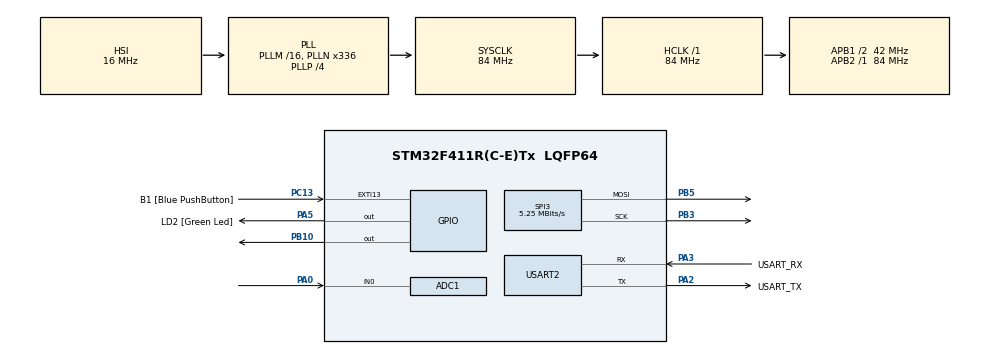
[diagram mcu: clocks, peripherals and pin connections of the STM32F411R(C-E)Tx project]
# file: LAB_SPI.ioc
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Mcu.Family=STM32F4
PB10.PinState=GPIO_PIN_SET
VP_TIM5_VS_ClockSourceINT.Mode=Internal
RCC.CortexFreq_Value=84000000
SPI3.Direction=SPI_DIRECTION_2LINES
SPI3.VirtualType=VM_MASTER
ADC1.ContinuousConvMode=DISABLE
PA14.GPIO_Label=TCK
RCC.SYSCLKSource=RCC_SYSCLKSOURCE_PLLCLK
Dma.USART2_RX.1.MemDataAlignment=DMA_MDATAALIGN_BYTE
ProjectManager.StackSize=0x400
PH0\ -\ OSC_IN.Signal=RCC_OSC_IN
RCC.HCLKFreq_Value=84000000
RCC.APB2TimFreq_Value=84000000
TIM3.Period=100
Dma.ADC1.0.Direction=DMA_PERIPH_TO_MEMORY
Dma.USART2_RX.1.PeriphInc=DMA_PINC_DISABLE
NVIC.DMA2_Stream0_IRQn=true\:0\:0\:false\:false\:true\:false\:true
Dma.USART2_RX.1.MemInc=DMA_MINC_ENABLE
Dma.ADC1.0.MemDataAlignment=DMA_MDATAALIGN_HALFWORD
RCC.AHBFreq_Value=84000000
SPI3.DataSize=SPI_DATASIZE_16BIT
ADC1.Channel-0\#ChannelRegularConversion=ADC_CHANNEL_0
RCC.HSE_VALUE=8000000
PB3.Mode=TX_Only_Simplex_Unidirect_Master
ADC1.ScanConvMode=ENABLE
PC13-ANTI_TAMP.Signal=GPXTI13
PC14-OSC32_IN.Mode=LSE-External-Oscillator
PA14.Mode=Serial_Wire
TIM3.Prescaler=99
Dma.ADC1.0.PeriphInc=DMA_PINC_DISABLE
PB5.Mode=TX_Only_Simplex_Unidirect_Master
SH.ADCx_IN0.0=ADC1_IN0,IN0
ADC1.SamplingTime-0\#ChannelRegularConversion=ADC_SAMPLETIME_3CYCLES
RCC.FLatency-AdvancedSettings=FLASH_LATENCY_2
Mcu.Package=LQFP64
SPI3.Mode=SPI_MODE_MASTER
USART2.VirtualMode=VM_ASYNC
PA2.GPIO_Label=USART_TX
NVIC.SPI3_IRQn=true\:0\:0\:false\:false\:true\:true\:true
Dma.Request1=USART2_RX
RCC.APB1TimFreq_Value=84000000
Dma.ADC1.0.FIFOMode=DMA_FIFOMODE_DISABLE
SPI3.CRCCalculation=SPI_CRCCALCULATION_DISABLE
Dma.USART2_RX.1.Mode=DMA_CIRCULAR
Dma.Request0=ADC1
ADC1.EOCSelection=ADC_EOC_SEQ_CONV
VP_TIM3_VS_ClockSourceINT.Mode=Internal
PA3.Signal=USART2_RX
PC15-OSC32_OUT.Mode=LSE-External-Oscillator
Dma.USART2_RX.1.Priority=DMA_PRIORITY_LOW
Dma.ADC1.0.Instance=DMA2_Stream0
Dma.USART2_RX.1.FIFOMode=DMA_FIFOMODE_DISABLE
ADC1.Rank-0\#ChannelRegularConversion=1
TIM3.AutoReloadPreload=TIM_AUTORELOAD_PRELOAD_ENABLE
PC13-ANTI_TAMP.GPIO_Label=B1 [Blue PushButton]
PH1\ -\ OSC_OUT.Mode=HSE-External-Clock-Source
RCC.APB1CLKDivider=RCC_HCLK_DIV2
PC14-OSC32_IN.Signal=RCC_OSC32_IN
TIM5.AutoReloadPreload=TIM_AUTORELOAD_PRELOAD_ENABLE
PA0-WKUP.Signal=ADCx_IN0
PA13.Signal=SYS_JTMS-SWDIO
PA3.Mode=Asynchronous
Dma.ADC1.0.PeriphDataAlignment=DMA_PDATAALIGN_HALFWORD
PH0\ -\ OSC_IN.Mode=HSE-External-Clock-Source
ProjectManager.TargetToolchain=STM32CubeIDE
NVIC.DMA1_Stream5_IRQn=true\:0\:0\:false\:false\:true\:false\:true
Dma.ADC1.0.Mode=DMA_CIRCULAR
Dma.ADC1.0.Priority=DMA_PRIORITY_LOW
PC15-OSC32_OUT.Signal=RCC_OSC32_OUT
Dma.USART2_RX.1.Instance=DMA1_Stream5
PB10.Signal=GPIO_Output
Dma.USART2_RX.1.Direction=DMA_PERIPH_TO_MEMORY
PA5.Signal=GPIO_Output
Dma.USART2_RX.1.PeriphDataAlignment=DMA_PDATAALIGN_BYTE
PH1\ -\ OSC_OUT.Signal=RCC_OSC_OUT
board=NUCLEO-F411RE
RCC.VCOOutputFreq_Value=336000000
RCC.APB2Freq_Value=84000000
SPI3.CalculateBaudRate=5.25 MBits/s
SPI3.BaudRatePrescaler=SPI_BAUDRATEPRESCALER_8
ADC1.DMAContinuousRequests=ENABLE
PA13.Mode=Serial_Wire
Mcu.Name=STM32F411R(C-E)Tx
PA2.Signal=USART2_TX
PA13.GPIO_Label=TMS
ADC1.ExternalTrigConv=ADC_EXTERNALTRIGCONV_T3_TRGO
RCC.48MHZClocksFreq_Value=84000000
PB3.Signal=SPI3_SCK
RCC.SYSCLKFreq_VALUE=84000000
PB5.Signal=SPI3_MOSI
ADC1.master=1
PA5.GPIO_Label=LD2 [Green Led]
TIM5.Prescaler=99
PC13-ANTI_TAMP.GPIO_ModeDefaultEXTI=GPIO_MODE_IT_FALLING
PA14.Signal=SYS_JTCK-SWCLK
Dma.ADC1.0.MemInc=DMA_MINC_ENABLE
ProjectManager.HeapSize=0x200
RCC.HSI_VALUE=16000000
RCC.PLLP=RCC_PLLP_DIV4
NVIC.PriorityGroup=NVIC_PRIORITYGROUP_0
ADC1.NbrOfConversionFlag=1
RCC.PLLN=336
PA2.Mode=Asynchronous
TIM3.TIM_MasterOutputTrigger=TIM_TRGO_UPDATE
RCC.APB1Freq_Value=42000000
PA3.GPIO_Label=USART_RX

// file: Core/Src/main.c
/* USER CODE BEGIN Header */
/**
  ******************************************************************************
  * @file           : main.c
  * @brief          : Main program body
  ******************************************************************************
  * @attention
  *
  * <h2><center>&copy; Copyright (c) 2021 STMicroelectronics.
  * All rights reserved.</center></h2>
  *
  * This software component is licensed by ST under BSD 3-Clause license,
  * the "License"; You may not use this file except in compliance with the
  * License. You may obtain a copy of the License at:
  *                        opensource.org/licenses/BSD-3-Clause
  *
  ******************************************************************************
  */
/* USER CODE END Header */
#include "main.h"

/* USER CODE BEGIN Includes */
#include <stdio.h>
#include <string.h>
#include <math.h>
/* USER CODE END Includes */

ADC_HandleTypeDef hadc1;
DMA_HandleTypeDef hdma_adc1;

SPI_HandleTypeDef hspi3;

TIM_HandleTypeDef htim3;
TIM_HandleTypeDef htim5;

UART_HandleTypeDef huart2;
DMA_HandleTypeDef hdma_usart2_rx;

/* USER CODE BEGIN PV */
uint32_t readadc=0;
uint64_t micros();
uint32_t _micro=0;
uint32_t dataOut=0;
void MCP4922SetOutput(uint8_t Config, uint16_t DACOutput);
uint32_t OutputPacket;
uint64_t timestamp=0;
char TxDataBuffer[64] ={ 0 };
char RxDataBuffer[64] ={ 0 };
void pim();
uint8_t Posdatapre=0;
uint8_t Posdata=0;
uint8_t state=0;
void pimstatus();
uint8_t Freq=0;
uint8_t Vhigh=0;
uint8_t Vlow=0;
uint8_t Dutycycle=0;
uint8_t stateform=0;
uint8_t slope=0;
uint8_t statetypewave=0;
float adcconvert(uint8_t x);
uint8_t sq=0;

float Ton=0;
float Toff=0;
float T=0;
uint32_t stampsq=0;

float i=0;
float debug=0;
uint8_t usesin=0;

uint8_t st=0;
uint64_t k=0;

/* USER CODE END PV */

void SystemClock_Config(void);
static void MX_GPIO_Init(void);
static void MX_DMA_Init(void);
static void MX_USART2_UART_Init(void);
static void MX_ADC1_Init(void);
static void MX_SPI3_Init(void);
static void MX_TIM3_Init(void);
static void MX_TIM5_Init(void);

int main(void)
{

  /* MCU Configuration--------------------------------------------------------*/

  /* Reset of all peripherals, Initializes the Flash interface and the Systick. */
  HAL_Init();

  /* Configure the system clock */
  SystemClock_Config();

  /* Initialize all configured peripherals */
  MX_GPIO_Init();
  MX_DMA_Init();
  MX_USART2_UART_Init();
  MX_ADC1_Init();
  MX_SPI3_Init();
  MX_TIM3_Init();
  MX_TIM5_Init();
  /* USER CODE BEGIN 2 */
  HAL_TIM_Base_Start(&htim3);
  HAL_ADC_Start_DMA(&hadc1,(uint32_t*)&readadc , 1);
  uint8_t DACConfig = 0b0011;
  HAL_TIM_Base_Start_IT(&htim5);
  HAL_UART_Receive_DMA(&huart2,  (uint8_t*)RxDataBuffer, 32);
  enum{
	  printmenumain=0,waitwaveform,printsubmenusawtooth,printsubmenusin,printsubmenusquare,waitsubmenusquare,waitsubmenusin,waitsubmenusawtooth
  };
  /* USER CODE END 2 */

  /* Infinite loop */
  /* USER CODE BEGIN WHILE */
  while (1)
  {

	  	Posdata=huart2.RxXferSize - huart2.hdmarx->Instance->NDTR;
	  	if(Posdatapre!=Posdata){
	  			sprintf(TxDataBuffer, "\r\nReceivedChar:[%c]", RxDataBuffer[Posdatapre] );
	  			HAL_UART_Transmit(&huart2, (uint8_t*)TxDataBuffer, strlen(TxDataBuffer),500);
	  	}
//
//	  		if (micros() - timestamp >= 100){
//	  			timestamp = micros();
//	  			if (hspi3.State == HAL_SPI_STATE_READY && 	HAL_GPIO_ReadPin(GPIOB, GPIO_PIN_10)== GPIO_PIN_SET){
//	  				MCP4922SetOutput(DACConfig, floor(dataOut));
//	  			}
//	  		}
	  	switch(statetypewave){
			case 0:
			break;
			case 3:
				T=(float)1/(float)(Freq*0.1);
				Ton=(float)((float)Dutycycle*(1.00/(float)(Freq*0.1)))/100.00;
				Toff=T-Ton;
				switch(sq){
					case 0:
						if(micros() - stampsq >= Toff*1000000){
							dataOut=adcconvert(Vhigh);
							MCP4922SetOutput(DACConfig, dataOut);
							stampsq=micros();
							sq=1;
						}
					break;
					case 1:
						if(micros() - stampsq >= Ton*1000000){
							dataOut=adcconvert(Vlow);
							MCP4922SetOutput(DACConfig,dataOut);
							stampsq=micros();
							sq=0;
						}
					break;
				}

			break;
			case 2:
				T=(float)1/(float)(Freq*0.1);
				if (micros() - timestamp >= (T/10000)*1000000){
					timestamp = micros();
					if (hspi3.State == HAL_SPI_STATE_READY && 	HAL_GPIO_ReadPin(GPIOB, GPIO_PIN_10)== GPIO_PIN_SET){
						i=i+(T/10000);

						debug=(  (((float)Vhigh*0.1)/2.0)   *sin((float)2.00*3.141592653569793236*(float)(Freq*0.1)*i)  )+ (((float)Vhigh*0.1)/2.0) + ((float)Vlow*0.1);
						debug=debug*10;
						dataOut=adcconvert(debug);
						MCP4922SetOutput(DACConfig, dataOut);
					}
				}
			break;
			case 1:
				T=(float)1/(float)(Freq*0.1);
				if(slope==0){
					if (micros() - timestamp >= (T/1000)*1000000){
						timestamp = micros();
						k=k+1;
						debug=((float)k/1000.00)*(float)Vhigh;
						dataOut=adcconvert(debug);
						if (hspi3.State == HAL_SPI_STATE_READY && 	HAL_GPIO_ReadPin(GPIOB, GPIO_PIN_10)== GPIO_PIN_SET){
							MCP4922SetOutput(DACConfig, dataOut);

						}if(k>=1000){
							k=(1000*Vlow)/Vhigh;
							dataOut=adcconvert(Vlow);
							MCP4922SetOutput(DACConfig, dataOut);
						}
					}

				}else if(slope==1){
					if (micros() - timestamp >= (T/1000)*1000000){
						timestamp = micros();
						debug=debug-((float)(Vhigh-Vlow)/1000);
						dataOut=adcconvert(debug);
						if (hspi3.State == HAL_SPI_STATE_READY && 	HAL_GPIO_ReadPin(GPIOB, GPIO_PIN_10)== GPIO_PIN_SET){
							MCP4922SetOutput(DACConfig, dataOut);
						}if(debug<=Vlow){
							debug=Vhigh;
							MCP4922SetOutput(DACConfig, Vhigh);
						}
					}

				}

			break;

	  	}

	  	switch(state){
			case printmenumain:
				pim("\r\nPlease Select Wave form:\r\n Mode 0:Sawtooth wave\r\n Mode 1:Sin wave\n\r\n Mode 2:Square wave\n ");
				state=waitwaveform;
			break;
			case waitwaveform:
				if(RxDataBuffer[Posdatapre]=='0' && Posdatapre!=Posdata ){
					statetypewave=1;
					slope=0;
					Freq=10;
					Vhigh=33;
					Vlow=0;
					state=printsubmenusawtooth;
				}else if(RxDataBuffer[Posdatapre]=='1'&& Posdatapre!=Posdata ){
					statetypewave=2;
					Freq=10;
					Vhigh=33;
					Vlow=0;
					state=printsubmenusin;
				}else if(RxDataBuffer[Posdatapre]=='2'&& Posdatapre!=Posdata ){
					statetypewave=3;
					Freq=10;
					Dutycycle=50;
					Vhigh=33;
					Vlow=0;
					state=printsubmenusquare;
				}else if( Posdatapre!=Posdata){
					pim("\r\n\r\nPlease Select Wave form!!!!!!!!!!\r\n\r\n ");
					 state=printmenumain;
				}
			break;
			case printsubmenusquare:
				pimstatus(3);
				pim("\r\n Step 0.1!!\r\n a:increase Freq\r\n s:decrease Freq\r\n d:increase Vhigh\r\n f:decrease Vhigh\r\n g:increase Vlow\r\n h:decrease Vlow\r\n j:increase Duty step 5 percent\r\n k:decrease Duty step 5 percent\r\n b:backmainmenu\r\n");
				state=waitsubmenusquare;
			break;
			case waitsubmenusquare:
				if(RxDataBuffer[Posdatapre]=='a' && Posdatapre!=Posdata ){
					if(Freq>=0 && Freq<100){
						Freq=Freq+1;
						pim("\r\nincrease Freq Done\r\n");
					}else if(Freq<=0){
						pim("\r\nIt lower 0 Hz\r\n");
					}else if(Freq>=100){
						pim("\r\nIt over 10 Hz\r\n");
					}
					state=printsubmenusquare;
				}else if(RxDataBuffer[Posdatapre]=='s'&& Posdatapre!=Posdata ){
					if(Freq>0 && Freq<=100){
						Freq=Freq-1;
						pim("\r\ndecrease Freq Done\r\n");
					}else if(Freq<=0){
						pim("\r\nIt lower 0 Hz\r\n");
					}else if(Freq>=100){
						pim("\r\nIt over 10 Hz\r\n");
					}
					state=printsubmenusquare;
				}else if(RxDataBuffer[Posdatapre]=='d'&& Posdatapre!=Posdata ){
					if(Vhigh>=0 && Vhigh<33){
						Vhigh=Vhigh+1;
						pim("\r\nincrease Vhigh Done\r\n");
					}else if(Vhigh<=0){
						pim("\r\nIt lower 0 V\r\n");
					}else if(Vhigh>=33){
						pim("\r\nIt over 3.3 V\r\n");
					}
					state=printsubmenusquare;
				}else if(RxDataBuffer[Posdatapre]=='f'&& Posdatapre!=Posdata ){
					if(Vhigh>0 && Vhigh<=33){
						Vhigh=Vhigh-1;
						pim("\r\ndecrease Vhigh Done\r\n");
					}else if(Vhigh<=0){
						pim("\r\nIt lower 0 V\r\n");
					}else if(Vhigh>=33){
						pim("\r\nIt over 3.3 V\r\n");
					}
					state=printsubmenusquare;
				}else if(RxDataBuffer[Posdatapre]=='g'&& Posdatapre!=Posdata ){
					if(Vlow>=0 && Vlow<33){
						Vlow=Vlow+1;
						pim("\r\nincrease Vlow Done\r\n");
					}else if(Vlow<=0){
						pim("\r\nIt lower 0 V\r\n");
					}else if(Vlow>=33){
						pim("\r\nIt over 3.3 V\r\n");
					}
					state=printsubmenusquare;
				}else if(RxDataBuffer[Posdatapre]=='h'&& Posdatapre!=Posdata ){
					if(Vlow>0 && Vlow<=33){
						Vlow=Vlow-1;
						pim("\r\ndecrease Vlow Done\r\n");
					}else if(Vlow<=0){
						pim("\r\nIt lower 0 V\r\n");
					}else if(Vlow>=33){
						pim("\r\nIt over 3.3 V\r\n");
					}
					state=printsubmenusquare;
				}else if(RxDataBuffer[Posdatapre]=='j'&& Posdatapre!=Posdata ){
					if(Dutycycle>=0 && Dutycycle<100){
						Dutycycle=Dutycycle+5;
						pim("\r\nincrease Dutycycle Done\r\n");
					}else if(Dutycycle<=0){
						pim("\r\nIt lower 0 percent\r\n");
					}else if(Dutycycle>=100){
						pim("\r\nIt over 100 percent\r\n");
					}
					state=printsubmenusquare;
				}else if(RxDataBuffer[Posdatapre]=='k'&& Posdatapre!=Posdata ){
					if(Dutycycle>0 && Dutycycle<=100){
						Dutycycle=Dutycycle-5;
						pim("\r\ndecrease Dutycycle Done\r\n");
					}else if(Dutycycle<=0){
						pim("It lower 0 percent");
					}else if(Dutycycle>=100){
						pim("It over 100 percent");
					}
					state=printsubmenusquare;
				}else if(RxDataBuffer[Posdatapre]=='b'&& Posdatapre!=Posdata ){
					pim("\r\n\r\nBack main menu\r\n");
					state=printmenumain;
				}else if( Posdatapre!=Posdata){
					pim("\r\n\r\nPlease Select !!!!!!!!!!\r\n\r\n ");
					state=printsubmenusquare;
				}
			break;
			case printsubmenusin:
				pimstatus(2);
				pim("\r\n Step 0.1!!\r\n a:increase Freq\r\n s:decrease Freq\r\n d:increase Vhigh\r\n f:decrease Vhigh\r\n g:increase Vlow\r\n h:decrease Vlow\r\n b:backmainmenu\r\n");
				state=waitsubmenusin;
			break;
			case waitsubmenusin:
				if(RxDataBuffer[Posdatapre]=='a' && Posdatapre!=Posdata ){
					if(Freq>=0 && Freq<100){
						Freq=Freq+1;
						pim("\r\nincrease Freq Done\r\n");
					}else if(Freq<=0){
						pim("\r\nIt lower 0 Hz\r\n");
					}else if(Freq>=100){
						pim("\r\nIt over 10 Hz\r\n");
					}
					state=printsubmenusin;
				}else if(RxDataBuffer[Posdatapre]=='s'&& Posdatapre!=Posdata ){
					if(Freq>0 && Freq<=100){
						Freq=Freq-1;
						pim("\r\ndecrease Freq Done\r\n");
					}else if(Freq<=0){
						pim("\r\nIt lower 0 Hz\r\n");
					}else if(Freq>=100){
						pim("\r\nIt over 10 Hz\r\n");
					}
					state=printsubmenusin;
				}else if(RxDataBuffer[Posdatapre]=='d'&& Posdatapre!=Posdata ){
					if(Vhigh>=0 && Vhigh<33){
						Vhigh=Vhigh+1;
						pim("\r\nincrease Vhigh Done\r\n");
					}else if(Vhigh<=0){
						pim("\r\nIt lower 0 V\r\n");
					}else if(Vhigh>=33){
						pim("\r\nIt over 3.3 V\r\n");
					}
					state=printsubmenusin;
				}else if(RxDataBuffer[Posdatapre]=='f'&& Posdatapre!=Posdata ){
					if(Vhigh>0 && Vhigh<=33){
						Vhigh=Vhigh-1;
						pim("\r\ndecrease Vhigh Done\r\n");
					}else if(Vhigh<=0){
						pim("\r\nIt lower 0 V\r\n");
					}else if(Vhigh>=33){
						pim("\r\nIt over 3.3 V\r\n");
					}
					state=printsubmenusin;
				}else if(RxDataBuffer[Posdatapre]=='g'&& Posdatapre!=Posdata ){
					if(Vlow>=0 && Vlow<33){
						Vlow=Vlow+1;
						pim("\r\nincrease Vlow Done\r\n");
					}else if(Vlow<=0){
						pim("\r\nIt lower 0 V\r\n");
					}else if(Vlow>=33){
						pim("\r\nIt over 3.3 V\r\n");
					}
					state=printsubmenusin;
				}else if(RxDataBuffer[Posdatapre]=='h'&& Posdatapre!=Posdata ){
					if(Vlow>0 && Vlow<=33){
						Vlow=Vlow-1;
						pim("\r\ndecrease Vlow Done\r\n");
					}else if(Vlow<=0){
						pim("\r\nIt lower 0 V\r\n");
					}else if(Vlow>=33){
						pim("\r\nIt over 3.3 V\r\n");
					}
					state=printsubmenusin;
				}else if(RxDataBuffer[Posdatapre]=='b'&& Posdatapre!=Posdata ){
					pim("\r\n\r\nBack main menu\r\n");
					state=printmenumain;
				}else if( Posdatapre!=Posdata){
					pim("\r\n\r\nPlease Select !!!!!!!!!!\r\n\r\n ");
					state=printsubmenusin;
				}
			break;
			case printsubmenusawtooth:
				pimstatus(1);
				pim("\r\n Step 0.1!!\r\n a:increase Freq\r\n s:decrease Freq\r\n d:increase Vhigh\r\n f:decrease Vhigh\r\n g:increase Vlow\r\n h:decrease Vlow\r\n j:Slope up/Down\r\n b:backmainmenu\r\n");
				state=waitsubmenusawtooth;
			break;
			case waitsubmenusawtooth:
				if(RxDataBuffer[Posdatapre]=='a' && Posdatapre!=Posdata ){
					if(Freq>=0 && Freq<100){
						Freq=Freq+1;
						pim("\r\nincrease Freq Done\r\n");
					}else if(Freq<=0){
						pim("\r\nIt lower 0 Hz\r\n");
					}else if(Freq>=100){
						pim("\r\nIt over 10 Hz\r\n");
					}
					state=printsubmenusawtooth;
				}else if(RxDataBuffer[Posdatapre]=='s'&& Posdatapre!=Posdata ){
					if(Freq>0 && Freq<=100){
						Freq=Freq-1;
						pim("\r\ndecrease Freq Done\r\n");
					}else if(Freq<=0){
						pim("\r\nIt lower 0 Hz\r\n");
					}else if(Freq>=100){
						pim("\r\nIt over 10 Hz\r\n");
					}
					state=printsubmenusawtooth;
				}else if(RxDataBuffer[Posdatapre]=='d'&& Posdatapre!=Posdata ){
					if(Vhigh>=0 && Vhigh<33){
						Vhigh=Vhigh+1;
						pim("\r\nincrease Vhigh Done\r\n");
					}else if(Vhigh<=0){
						pim("\r\nIt lower 0 V\r\n");
					}else if(Vhigh>=33){
						pim("\r\nIt over 3.3 V\r\n");
					}
					state=printsubmenusawtooth;
				}else if(RxDataBuffer[Posdatapre]=='f'&& Posdatapre!=Posdata ){
					if(Vhigh>0 && Vhigh<=33){
						Vhigh=Vhigh-1;
						pim("\r\ndecrease Vhigh Done\r\n");
					}else if(Vhigh<=0){
						pim("\r\nIt lower 0 V\r\n");
					}else if(Vhigh>=33){
						pim("\r\nIt over 3.3 V\r\n");
					}
					state=printsubmenusawtooth;
				}else if(RxDataBuffer[Posdatapre]=='g'&& Posdatapre!=Posdata ){
					if(Vlow>=0 && Vlow<33){
						Vlow=Vlow+1;
						pim("\r\nincrease Vlow Done\r\n");
					}else if(Vlow<=0){
						pim("\r\nIt lower 0 V\r\n");
					}else if(Vlow>=33){
						pim("\r\nIt over 3.3 V\r\n");
					}
					state=printsubmenusawtooth;
				}else if(RxDataBuffer[Posdatapre]=='h'&& Posdatapre!=Posdata ){
					if(Vlow>0 && Vlow<=33){
						Vlow=Vlow-1;
						pim("\r\ndecrease Vlow Done\r\n");
					}else if(Vlow<=0){
						pim("\r\nIt lower 0 V\r\n");
					}else if(Vlow>=33){
						pim("\r\nIt over 3.3 V\r\n");
					}
					state=printsubmenusawtooth;
				}else if(RxDataBuffer[Posdatapre]=='j'&& Posdatapre!=Posdata ){
					if(slope==0){
						pim("\r\nSlope to up\r\n");
						slope=1;
					}else{
						pim("\r\nSlope to Down\r\n");
						slope=0;
					}
					state=printsubmenusawtooth;
				}else if(RxDataBuffer[Posdatapre]=='b'&& Posdatapre!=Posdata ){
					pim("\r\n\r\nBack main menu\r\n");
					state=printmenumain;
				}else if( Posdatapre!=Posdata){
					pim("\r\n\r\nPlease Select !!!!!!!!!!\r\n\r\n ");
					state=printsubmenusawtooth;
				}
			break;

	  	}

	  	Posdatapre=Posdata;
    /* USER CODE END WHILE */

  }
}

void SystemClock_Config(void)
{
  RCC_OscInitTypeDef RCC_OscInitStruct = {0};
  RCC_ClkInitTypeDef RCC_ClkInitStruct = {0};

  /** Configure the main internal regulator output voltage
  */
  __HAL_RCC_PWR_CLK_ENABLE();
  __HAL_PWR_VOLTAGESCALING_CONFIG(PWR_REGULATOR_VOLTAGE_SCALE1);
  /** Initializes the RCC Oscillators according to the specified parameters
  * in the RCC_OscInitTypeDef structure.
  */
  RCC_OscInitStruct.OscillatorType = RCC_OSCILLATORTYPE_HSI;
  RCC_OscInitStruct.HSIState = RCC_HSI_ON;
  RCC_OscInitStruct.HSICalibrationValue = RCC_HSICALIBRATION_DEFAULT;
  RCC_OscInitStruct.PLL.PLLState = RCC_PLL_ON;
  RCC_OscInitStruct.PLL.PLLSource = RCC_PLLSOURCE_HSI;
  RCC_OscInitStruct.PLL.PLLM = 16;
  RCC_OscInitStruct.PLL.PLLN = 336;
  RCC_OscInitStruct.PLL.PLLP = RCC_PLLP_DIV4;
  RCC_OscInitStruct.PLL.PLLQ = 4;
  if (HAL_RCC_OscConfig(&RCC_OscInitStruct) != HAL_OK)
  {
    Error_Handler();
  }
  /** Initializes the CPU, AHB and APB buses clocks
  */
  RCC_ClkInitStruct.ClockType = RCC_CLOCKTYPE_HCLK|RCC_CLOCKTYPE_SYSCLK
                              |RCC_CLOCKTYPE_PCLK1|RCC_CLOCKTYPE_PCLK2;
  RCC_ClkInitStruct.SYSCLKSource = RCC_SYSCLKSOURCE_PLLCLK;
  RCC_ClkInitStruct.AHBCLKDivider = RCC_SYSCLK_DIV1;
  RCC_ClkInitStruct.APB1CLKDivider = RCC_HCLK_DIV2;
  RCC_ClkInitStruct.APB2CLKDivider = RCC_HCLK_DIV1;

  if (HAL_RCC_ClockConfig(&RCC_ClkInitStruct, FLASH_LATENCY_2) != HAL_OK)
  {
    Error_Handler();
  }
}

static void MX_ADC1_Init(void)
{

  ADC_ChannelConfTypeDef sConfig = {0};

  /** Configure the global features of the ADC (Clock, Resolution, Data Alignment and number of conversion)
  */
  hadc1.Instance = ADC1;
  hadc1.Init.ClockPrescaler = ADC_CLOCK_SYNC_PCLK_DIV4;
  hadc1.Init.Resolution = ADC_RESOLUTION_12B;
  hadc1.Init.ScanConvMode = ENABLE;
  hadc1.Init.ContinuousConvMode = DISABLE;
  hadc1.Init.DiscontinuousConvMode = DISABLE;
  hadc1.Init.ExternalTrigConvEdge = ADC_EXTERNALTRIGCONVEDGE_RISING;
  hadc1.Init.ExternalTrigConv = ADC_EXTERNALTRIGCONV_T3_TRGO;
  hadc1.Init.DataAlign = ADC_DATAALIGN_RIGHT;
  hadc1.Init.NbrOfConversion = 1;
  hadc1.Init.DMAContinuousRequests = ENABLE;
  hadc1.Init.EOCSelection = ADC_EOC_SEQ_CONV;
  if (HAL_ADC_Init(&hadc1) != HAL_OK)
  {
    Error_Handler();
  }
  /** Configure for the selected ADC regular channel its corresponding rank in the sequencer and its sample time.
  */
  sConfig.Channel = ADC_CHANNEL_0;
  sConfig.Rank = 1;
  sConfig.SamplingTime = ADC_SAMPLETIME_3CYCLES;
  if (HAL_ADC_ConfigChannel(&hadc1, &sConfig) != HAL_OK)
  {
    Error_Handler();
  }

}

static void MX_SPI3_Init(void)
{

  /* SPI3 parameter configuration*/
  hspi3.Instance = SPI3;
  hspi3.Init.Mode = SPI_MODE_MASTER;
  hspi3.Init.Direction = SPI_DIRECTION_2LINES;
  hspi3.Init.DataSize = SPI_DATASIZE_16BIT;
  hspi3.Init.CLKPolarity = SPI_POLARITY_LOW;
  hspi3.Init.CLKPhase = SPI_PHASE_1EDGE;
  hspi3.Init.NSS = SPI_NSS_SOFT;
  hspi3.Init.BaudRatePrescaler = SPI_BAUDRATEPRESCALER_8;
  hspi3.Init.FirstBit = SPI_FIRSTBIT_MSB;
  hspi3.Init.TIMode = SPI_TIMODE_DISABLE;
  hspi3.Init.CRCCalculation = SPI_CRCCALCULATION_DISABLE;
  hspi3.Init.CRCPolynomial = 10;
  if (HAL_SPI_Init(&hspi3) != HAL_OK)
  {
    Error_Handler();
  }

}

static void MX_TIM3_Init(void)
{

  TIM_ClockConfigTypeDef sClockSourceConfig = {0};
  TIM_MasterConfigTypeDef sMasterConfig = {0};

  htim3.Instance = TIM3;
  htim3.Init.Prescaler = 99;
  htim3.Init.CounterMode = TIM_COUNTERMODE_UP;
  htim3.Init.Period = 100;
  htim3.Init.ClockDivision = TIM_CLOCKDIVISION_DIV1;
  htim3.Init.AutoReloadPreload = TIM_AUTORELOAD_PRELOAD_ENABLE;
  if (HAL_TIM_Base_Init(&htim3) != HAL_OK)
  {
    Error_Handler();
  }
  sClockSourceConfig.ClockSource = TIM_CLOCKSOURCE_INTERNAL;
  if (HAL_TIM_ConfigClockSource(&htim3, &sClockSourceConfig) != HAL_OK)
  {
    Error_Handler();
  }
  sMasterConfig.MasterOutputTrigger = TIM_TRGO_UPDATE;
  sMasterConfig.MasterSlaveMode = TIM_MASTERSLAVEMODE_DISABLE;
  if (HAL_TIMEx_MasterConfigSynchronization(&htim3, &sMasterConfig) != HAL_OK)
  {
    Error_Handler();
  }

}

static void MX_TIM5_Init(void)
{

  TIM_ClockConfigTypeDef sClockSourceConfig = {0};
  TIM_MasterConfigTypeDef sMasterConfig = {0};

  htim5.Instance = TIM5;
  htim5.Init.Prescaler = 99;
  htim5.Init.CounterMode = TIM_COUNTERMODE_UP;
  htim5.Init.Period = 4294967295;
  htim5.Init.ClockDivision = TIM_CLOCKDIVISION_DIV1;
  htim5.Init.AutoReloadPreload = TIM_AUTORELOAD_PRELOAD_ENABLE;
  if (HAL_TIM_Base_Init(&htim5) != HAL_OK)
  {
    Error_Handler();
  }
  sClockSourceConfig.ClockSource = TIM_CLOCKSOURCE_INTERNAL;
  if (HAL_TIM_ConfigClockSource(&htim5, &sClockSourceConfig) != HAL_OK)
  {
    Error_Handler();
  }
  sMasterConfig.MasterOutputTrigger = TIM_TRGO_RESET;
  sMasterConfig.MasterSlaveMode = TIM_MASTERSLAVEMODE_DISABLE;
  if (HAL_TIMEx_MasterConfigSynchronization(&htim5, &sMasterConfig) != HAL_OK)
  {
    Error_Handler();
  }

}

static void MX_USART2_UART_Init(void)
{

  huart2.Instance = USART2;
  huart2.Init.BaudRate = 115200;
  huart2.Init.WordLength = UART_WORDLENGTH_8B;
  huart2.Init.StopBits = UART_STOPBITS_1;
  huart2.Init.Parity = UART_PARITY_NONE;
  huart2.Init.Mode = UART_MODE_TX_RX;
  huart2.Init.HwFlowCtl = UART_HWCONTROL_NONE;
  huart2.Init.OverSampling = UART_OVERSAMPLING_16;
  if (HAL_UART_Init(&huart2) != HAL_OK)
  {
    Error_Handler();
  }

}

static void MX_DMA_Init(void)
{

  /* DMA controller clock enable */
  __HAL_RCC_DMA2_CLK_ENABLE();
  __HAL_RCC_DMA1_CLK_ENABLE();

  /* DMA interrupt init */
  /* DMA1_Stream5_IRQn interrupt configuration */
  HAL_NVIC_SetPriority(DMA1_Stream5_IRQn, 0, 0);
  HAL_NVIC_EnableIRQ(DMA1_Stream5_IRQn);
  /* DMA2_Stream0_IRQn interrupt configuration */
  HAL_NVIC_SetPriority(DMA2_Stream0_IRQn, 0, 0);
  HAL_NVIC_EnableIRQ(DMA2_Stream0_IRQn);

}

static void MX_GPIO_Init(void)
{
  GPIO_InitTypeDef GPIO_InitStruct = {0};

  /* GPIO Ports Clock Enable */
  __HAL_RCC_GPIOC_CLK_ENABLE();
  __HAL_RCC_GPIOH_CLK_ENABLE();
  __HAL_RCC_GPIOA_CLK_ENABLE();
  __HAL_RCC_GPIOB_CLK_ENABLE();

  /*Configure GPIO pin Output Level */
  HAL_GPIO_WritePin(LD2_GPIO_Port, LD2_Pin, GPIO_PIN_RESET);

  /*Configure GPIO pin Output Level */
  HAL_GPIO_WritePin(GPIOB, GPIO_PIN_10, GPIO_PIN_SET);

  /*Configure GPIO pin : B1_Pin */
  GPIO_InitStruct.Pin = B1_Pin;
  GPIO_InitStruct.Mode = GPIO_MODE_IT_FALLING;
  GPIO_InitStruct.Pull = GPIO_NOPULL;
  HAL_GPIO_Init(B1_GPIO_Port, &GPIO_InitStruct);

  /*Configure GPIO pin : LD2_Pin */
  GPIO_InitStruct.Pin = LD2_Pin;
  GPIO_InitStruct.Mode = GPIO_MODE_OUTPUT_PP;
  GPIO_InitStruct.Pull = GPIO_NOPULL;
  GPIO_InitStruct.Speed = GPIO_SPEED_FREQ_LOW;
  HAL_GPIO_Init(LD2_GPIO_Port, &GPIO_InitStruct);

  /*Configure GPIO pin : PB10 */
  GPIO_InitStruct.Pin = GPIO_PIN_10;
  GPIO_InitStruct.Mode = GPIO_MODE_OUTPUT_PP;
  GPIO_InitStruct.Pull = GPIO_NOPULL;
  GPIO_InitStruct.Speed = GPIO_SPEED_FREQ_LOW;
  HAL_GPIO_Init(GPIOB, &GPIO_InitStruct);

}

/* USER CODE BEGIN 4 */

void MCP4922SetOutput(uint8_t Config, uint16_t DACOutput)
{
	uint32_t OutputPacket = (DACOutput & 0x0fff) | ((Config & 0xf) << 12);
	HAL_GPIO_WritePin(GPIOB, GPIO_PIN_10, 0);
	HAL_SPI_Transmit_IT(&hspi3, &OutputPacket, 1);
}

void HAL_SPI_TxCpltCallback(SPI_HandleTypeDef *hspi)
{
	if (hspi == &hspi3)
	{
		HAL_GPIO_WritePin(GPIOB, GPIO_PIN_10, 1);

	}
}
void HAL_TIM_PeriodElapsedCallback(TIM_HandleTypeDef *htim)
{
	if (htim == &htim5)
	{
		_micro += 4294968296;
	}
}
uint64_t micros()
{
	return htim5.Instance->CNT + _micro;
}
void pim(char q[]){

	HAL_UART_Transmit(&huart2, (uint8_t*)q, strlen(q),1000);
}

void pimstatus(int x){
	if(x==3){
		sprintf(TxDataBuffer, "\r\nNow F is:[%.2f]\r\nNow Vhigh is:[%.2f]\r\nNow Vlow is:[%.2f]\r\nNow Dutycycle is:[%d]", (float)Freq*0.1,(float)Vhigh*0.1,(float)Vlow*0.1,(int)Dutycycle);
		pim (TxDataBuffer);
	}else if(x==2){
		sprintf(TxDataBuffer, "\r\nNow F is:[%.2f]\r\nNow Vhigh is:[%.2f]\r\nNow Vlow is:[%.2f]\r\n", (float)Freq*0.1,(float)Vhigh*0.1,(float)Vlow*0.1);
		pim (TxDataBuffer);
	}else if(x==1){
		sprintf(TxDataBuffer, "\r\nNow F is:[%.2f]\r\nNow Vhigh is:[%.2f]\r\nNow Vlow is:[%.2f]\r\nNow slope:%d\r\n", (float)Freq*0.1,(float)Vhigh*0.1,(float)Vlow*0.1,(int)slope);
		pim (TxDataBuffer);
	}
}
float adcconvert(uint8_t x){
//	if(x>=33){
//		return 4095;
//	}
	return (float)((float)(x*0.1)/3.3)*(4095.00);
}

/* USER CODE END 4 */

void Error_Handler(void)
{
  __disable_irq();
  while (1)
  {
  }
}

/************************ (C) COPYRIGHT STMicroelectronics *****END OF FILE****/
